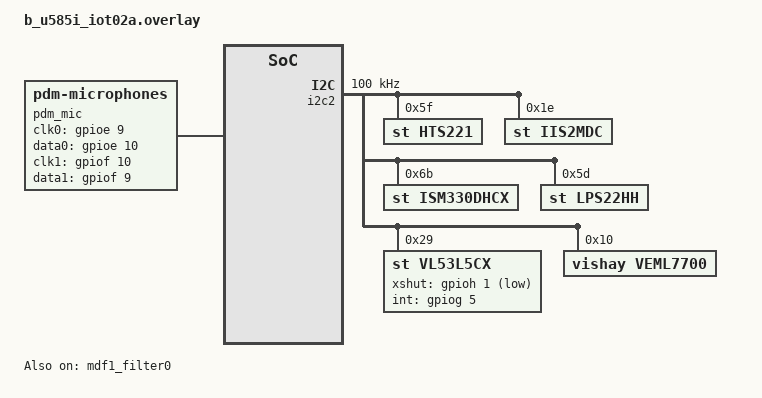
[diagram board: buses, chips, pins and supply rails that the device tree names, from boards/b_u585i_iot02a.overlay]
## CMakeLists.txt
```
# SPDX-License-Identifier: Apache-2.0

cmake_minimum_required(VERSION 3.20.0)

find_package(Zephyr REQUIRED HINTS $ENV{ZEPHYR_BASE})
project(fronimo)

# Add custom drivers
add_subdirectory(drivers)

target_sources(app PRIVATE  src/main.cpp
                            src/sensors/hts221.cpp
                            src/sensors/iis2mdc.cpp
                            src/sensors/ism330dhcx.cpp
                            src/sensors/lps22hh.cpp
                            src/sensors/vl53l5cx.cpp
                            src/sensors/veml6030.cpp
                            src/sensors/pdm_mics.cpp
)
```

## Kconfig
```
# Main application Kconfig

# Include Zephyr's main Kconfig
source "Kconfig.zephyr"

# Include our custom drivers
rsource "drivers/Kconfig"
```

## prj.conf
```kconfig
CONFIG_CPP=y
CONFIG_NEWLIB_LIBC=y
CONFIG_STDOUT_CONSOLE=y
CONFIG_LOG=y
CONFIG_I2C=y
CONFIG_SENSOR=y
CONFIG_HTS221=y
CONFIG_IIS2MDC=y
CONFIG_ISM330DHCX=y
CONFIG_LPS22HH=y
CONFIG_LPS22HH_TRIGGER_GLOBAL_THREAD=y
CONFIG_GPIO=y

# VL53L5CX Time-of-Flight sensor
CONFIG_VL53L5CX=y

# VEML7700 ambient light sensor (compatible with VEML6030)
CONFIG_VEML7700=y

CONFIG_FPU=y
CONFIG_NEWLIB_LIBC_FLOAT_PRINTF=y


# Audio subsystem and PDM microphones
CONFIG_AUDIO=y
CONFIG_AUDIO_DMIC=y
CONFIG_DMIC_STM32_MDF=y
```

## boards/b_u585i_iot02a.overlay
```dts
/* b_u585i_iot02a.overlay
 *
 * Zephyr devicetree overlay for ST B-U585I-IOT02A
 * Enables I2C2 MEMS/environment sensors, secure element,
 * EEPROM, and dual digital microphones (PDM via MDF/ADF).
 */

/ {
	chosen {
		zephyr,console = &usart1;
	};
};

/* --- I2C2 sensor cluster --- */
&i2c2 {
	status = "okay";
	clock-frequency = <I2C_BITRATE_STANDARD>; /* 100 kHz */

    // Humidity & Temperature Sensor
	hts221@5f {
		compatible = "st,hts221";
		reg = <0x5f>;
		label = "HTS221";
	};

    // Magnetometer
	iis2mdc@1e {
		compatible = "st,iis2mdc";
		reg = <0x1e>;
		label = "IIS2MDC";
	};

    // Accelerometer + Gyroscope
	ism330dhcx@6b {
		compatible = "st,ism330dhcx";
		reg = <0x6b>;
		label = "ISM330DHCX";
	};

    // Pressure Sensor
	lps22hh@5d {
		compatible = "st,lps22hh";
		reg = <0x5d>;
		label = "LPS22HH";
	};

    // ToF Sensor (Custom driver - under development)
	vl53l5cx: vl53l5cx@29 {
		compatible = "st,vl53l5cx";
		reg = <0x29>;
		label = "VL53L5CX";
		xshut-gpios = <&gpioh 1 GPIO_ACTIVE_LOW>; /* PH1 */
		int-gpios   = <&gpiog 5 GPIO_ACTIVE_HIGH>; /* PG5 */
	};
	
	// Override the VEML6030 on the board to use VEML7700 driver with proper PSM
	veml7700: veml7700@10 {
		compatible = "vishay,veml7700";
		reg = <0x10>;
		psm-mode = <1>; /* Enable PSM mode 1 for continuous operation */
		status = "okay";
	};

    /* Secure Element - disabled for now
	stsafe@20 {
		compatible = "st,stsafe-a110";
		reg = ;<0x20>;
		label = "STSAFE_A110";
		enable-gpios = <&gpiof 11 GPIO_ACTIVE_LOW>;
	};
    */

    /* EEPROM - disabled for now
	eeprom@57 {
		compatible = "st,24c02";
		reg = <0x57>;
		label = "M24256_EEPROM";
	};
    */
};

/* --- PDM microphones configuration --- */
/ {
	aliases {
		pdm-mic = &pdm_mic;
	};

	pdm_mic: pdm_microphones {
		compatible = "pdm-microphones";
		status = "okay";
		
		/* Hardware properties */
		sample-rates = <8000 16000 32000 48000>;
		channels = <2>;
		bit-width = <16>;
		
		/* MDF peripheral pins */
		clk0-gpios = <&gpioe 9 GPIO_ACTIVE_HIGH>;   /* PE9 - MDF1_CCK0 */
		data0-gpios = <&gpioe 10 0>;                /* PE10 - MDF1_SDI0 */
		clk1-gpios = <&gpiof 10 GPIO_ACTIVE_HIGH>;  /* PF10 - MDF1_CCK1 */
		data1-gpios = <&gpiof 9 0>;                 /* PF9 - MDF1_SDI1 */
		
		/* MDF configuration */
		decimation-ratio = <64>;
		filter-order = <5>;
		gain = <0>; /* 0 dB */
	};
	
	/* MDF1 peripheral device node */
	mdf1_filter0: mdf@40025000 {
		compatible = "st,stm32-mdf";
		reg = <0x40025000 0x400>;
		interrupts = <121 0>;  /* MDF1_FLT0 interrupt - using available IRQ */
		interrupt-parent = <&nvic>;
		clocks = <&rcc STM32_CLOCK(AHB1, 11)>; /* MDF1EN bit 11 */
		status = "okay";
		#address-cells = <1>;
		#size-cells = <0>;
		
		/* Filter configuration */
		st,filter-id = <0>;
		st,channels = <2>;
		st,sample-rate = <16000>;
		st,decimation-ratio = <64>;
		
		/* TODO: Pin configuration - requires manual GPIO setup */
		/* Pins used: PE9 (CLK), PE10 (DATA), PF10 (CLK), PF9 (DATA) */
	};
};

/* The MP23DB01HPTR microphones are connected to:
 * - Left Mic:  CLK=PE9 (MDF1_CCK0), DATA=PE10 (MDF1_SDI0)  
 * - Right Mic: CLK=PF10 (MDF1_CCK1), DATA=PF9 (MDF1_SDI1)
 * 
 * MDF1 peripheral features:
 * - Base address: 0x40025000 (main MDF peripheral)
 * - Filter 0: 0x40025080 (filter instance)
 * - Clock: AHB1 bus, bit 11 (MDF1EN)
 * - DMA: GPDMA1 channels
 * - Interrupts: MDF1_FLT0 (121), MDF1_FLT1 (122)
 * 
 * Note: The MDF1 peripheral node would normally be defined in the main
 * STM32U5 device tree. For now, we rely on the custom MDF driver to
 * directly access the peripheral registers at 0x40025000.
 */
```

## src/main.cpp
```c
#include <zephyr/kernel.h>
#include <zephyr/logging/log.h>
#include <stdlib.h>
#include <math.h>
#include "sensors/hts221.h"
#include "sensors/iis2mdc.h"
#include "sensors/ism330dhcx.h"
#include "sensors/lps22hh.h"
#include "sensors/vl53l5cx.h"
#include "sensors/veml6030.h"
#include "sensors/pdm_mics.h"

LOG_MODULE_REGISTER(app, LOG_LEVEL_INF);

int main(void) {
    LOG_INF("B-U585I-IOT02A C++ Sensor Example");

    HTS221 hts;
    IIS2MDC mag;
    ISM330DHCX imu;
    LPS22HH lps;
    VL53L5CX tof;  // Hardware detected ✅, measurements require ULD firmware
    VEML6030 als;
    PDMMicrophones mics; // Custom STM32U5 MDF driver

    if (!hts.isReady()) {
        LOG_ERR("HTS221 not available");
        return 0;
    }

    if (!mag.isReady()) {
        LOG_ERR("IIS2MDC not available");
        return 0;
    }
    if (!imu.isReady()) {
        LOG_ERR("ISM330DHCX not available");
        return 0;
    }
    if(!lps.isReady()) {
        LOG_ERR("LPS22HH not available");
        return 0;
    }

    if(!tof.isReady()) {
        LOG_WRN("VL53L5CX not available (expected until physical sensor connected)");
    }

    if(!als.isReady()) {
        LOG_ERR("VEML7700 (ALS) not available");
        return 0;
    }

    // Configure PDM microphones
    if (mics.isReady()) {
        LOG_INF("PDM microphones available - configuring...");
        if (mics.configure(16000, 2)) {
            LOG_INF("PDM microphones configured successfully");
            if (mics.start()) {
                LOG_INF("PDM microphones started");
                mics.configure_sound_detection(true, 1000);
            } else {
                LOG_ERR("Failed to start PDM microphones");
            }
        } else {
            LOG_ERR("Failed to configure PDM microphones");
        }
    } else {
        LOG_WRN("PDM microphones not available");
    }

    lps.setMode(LPS22HH::Mode::ONE_SHOT);

    while (true) {
        if (hts.sample()) {
            float temp = hts.getTemperature();
            float hum = hts.getHumidity();
            LOG_INF("Temperature: %d.%02d °C, Humidity: %d.%02d %%", 
                    (int)temp, (int)((temp - (int)temp) * 100),
                    (int)hum, (int)((hum - (int)hum) * 100));
        }
        if (mag.sample()) {
            float magX = mag.getMagX();
            float magY = mag.getMagY();
            float magZ = mag.getMagZ();
            LOG_INF("Mag [uT]: X=%d.%02d, Y=%d.%02d, Z=%d.%02d",
                    (int)magX, (int)((magX - (int)magX) * 100),
                    (int)magY, (int)((magY - (int)magY) * 100),
                    (int)magZ, (int)((magZ - (int)magZ) * 100));
        }
        if (imu.sample()) {
            float ax = imu.getAccelX();
            float ay = imu.getAccelY();
            float az = imu.getAccelZ();
            float gx = imu.getGyroX();
            float gy = imu.getGyroY();
            float gz = imu.getGyroZ();
            
            // Handle negative values correctly
            int ax_int = (int)(ax * 100);
            int ay_int = (int)(ay * 100);
            int az_int = (int)(az * 100);
            int gx_int = (int)(gx * 100);
            int gy_int = (int)(gy * 100);
            int gz_int = (int)(gz * 100);
            
            LOG_INF("Accel [mg]: X=%d.%02d, Y=%d.%02d, Z=%d.%02d",
                    ax_int / 100, abs(ax_int % 100),
                    ay_int / 100, abs(ay_int % 100),
                    az_int / 100, abs(az_int % 100));
            LOG_INF("Gyro [mdps]: X=%d.%02d, Y=%d.%02d, Z=%d.%02d",
                    gx_int / 100, abs(gx_int % 100),
                    gy_int / 100, abs(gy_int % 100),
                    gz_int / 100, abs(gz_int % 100));
        }

        if(lps.sample()) {
            float pressure = lps.getPressure();
            float temperature = lps.getTemperature();
            LOG_INF("Pressure: %d.%02d kPa, Temperature: %d.%02d °C",
                    (int)pressure, (int)((pressure - (int)pressure) * 100),
                    (int)temperature, (int)((temperature - (int)temperature) * 100));
        }

        if(tof.isReady() && tof.sample()) {
            float distance = tof.getDistance();
            LOG_INF("Distance: %d.%02d mm",
                    (int)distance, (int)((distance - (int)distance) * 100));
        }

        if(als.sample()) {
            float lux = als.getLux();
            LOG_INF("Ambient Light: %d.%02d lux",
                    (int)lux, (int)((lux - (int)lux) * 100));
        }

        // Test PDM microphone sampling
        if (mics.is_capturing()) {
            int16_t audio_buffer[32]; // Smaller buffer for testing
            size_t samples_read = mics.read(audio_buffer, 32);
            if (samples_read > 0) {
                // Calculate RMS for audio level indication
                int32_t sum_squares = 0;
                for (size_t i = 0; i < samples_read; i++) {
                    sum_squares += (int32_t)audio_buffer[i] * audio_buffer[i];
                }
                float rms = sqrt((float)sum_squares / samples_read);
                LOG_INF("Audio: %d samples, RMS=%d.%02d", 
                        (int)samples_read, (int)rms, (int)((rms - (int)rms) * 100));
            }
        }
        
        LOG_INF("-------------------------------------------------------------------");
        
        k_sleep(K_SECONDS(2));
    }
}
```
